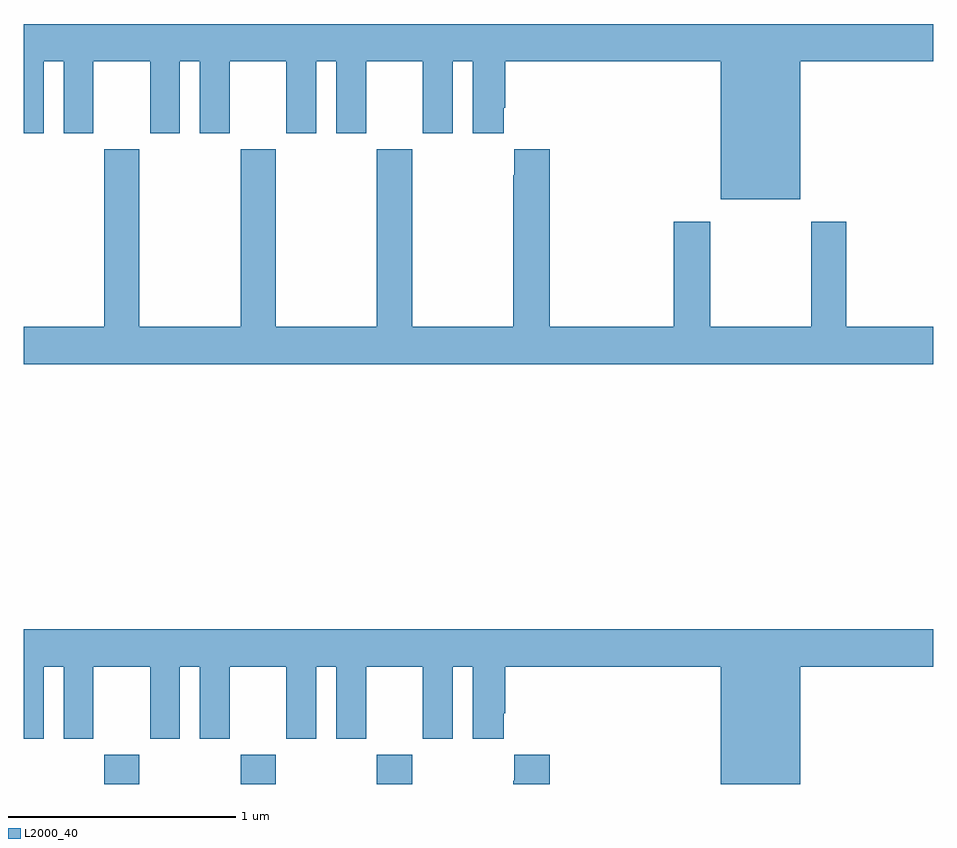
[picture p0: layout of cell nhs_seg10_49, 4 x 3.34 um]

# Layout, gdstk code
import gdstk
lib = gdstk.Library(unit=1e-6, precision=1e-09)
def R(c, l, rs):  # rectangles x0, y0, x1, y1
    for r in rs: c.add(gdstk.rectangle(r[:2], r[2:], *l))
def A(c, l, x, y, w, h, nx, ny, dx, dy):  # array of equal rectangles
    R(c, l, [(x+i*dx, y+j*dy, x+i*dx+w, y+j*dy+h) for i in range(nx) for j in range(ny)])
def P(c, l, *ps):  # polygons
    for p in ps: c.add(gdstk.Polygon(p, *l))
L2000_40 = (2000, 40)

nhs_seg10_49 = lib.new_cell('nhs_seg10_49')
A(nhs_seg10_49, L2000_40, 113.353, 1266.5, 0.155, 0.128, 3, 1, 0.6, 0)
P(nhs_seg10_49, L2000_40, [(116.416,1269.68),(117,1269.68),(117,1269.844),(113,1269.844),(113,1269.363),(113.086,1269.363),(113.086,1269.68),(113.174,1269.68),(113.174,1269.363),(113.305,1269.363),(113.305,1269.68),(113.555,1269.68),(113.555,1269.363),(113.686,1269.363),(113.686,1269.68),(113.774,1269.68),(113.774,1269.363),(113.905,1269.363),(113.905,1269.68),(114.155,1269.68),(114.155,1269.363),(114.286,1269.363),(114.286,1269.68),(114.374,1269.68),(114.374,1269.363),(114.505,1269.363),(114.505,1269.68),(114.755,1269.68),(114.755,1269.363),(114.886,1269.363),(114.886,1269.68),(114.974,1269.68),(114.974,1269.363),(115.111,1269.363),(115.111,1269.475),(115.118,1269.475),(115.118,1269.68),(116.066,1269.68),(116.066,1269.074),(116.416,1269.074)],
  [(117,1268.512),(116.619,1268.512),(116.619,1268.974),(116.464,1268.974),(116.464,1268.512),(116.019,1268.512),(116.019,1268.974),(115.859,1268.974),(115.859,1268.512),(115.313,1268.512),(115.313,1269.292),(115.157,1269.292),(115.157,1269.179),(115.153,1269.179),(115.153,1268.512),(114.708,1268.512),(114.708,1269.292),(114.553,1269.292),(114.553,1268.512),(114.108,1268.512),(114.108,1269.292),(113.953,1269.292),(113.953,1268.512),(113.508,1268.512),(113.508,1269.292),(113.353,1269.292),(113.353,1268.512),(113,1268.512),(113,1268.348),(117,1268.348)],
  [(116.416,1267.016),(117,1267.016),(117,1267.18),(113,1267.18),(113,1266.699),(113.086,1266.699),(113.086,1267.016),(113.174,1267.016),(113.174,1266.699),(113.305,1266.699),(113.305,1267.016),(113.555,1267.016),(113.555,1266.699),(113.686,1266.699),(113.686,1267.016),(113.774,1267.016),(113.774,1266.699),(113.905,1266.699),(113.905,1267.016),(114.155,1267.016),(114.155,1266.699),(114.286,1266.699),(114.286,1267.016),(114.374,1267.016),(114.374,1266.699),(114.505,1266.699),(114.505,1267.016),(114.755,1267.016),(114.755,1266.699),(114.886,1266.699),(114.886,1267.016),(114.974,1267.016),(114.974,1266.699),(115.111,1266.699),(115.111,1266.811),(115.118,1266.811),(115.118,1267.016),(116.066,1267.016),(116.066,1266.5),(116.416,1266.5)],
  [(115.313,1266.628),(115.157,1266.628),(115.157,1266.515),(115.153,1266.515),(115.153,1266.5),(115.313,1266.5)])

lib.write_gds('nhs_seg10_49.gds')
